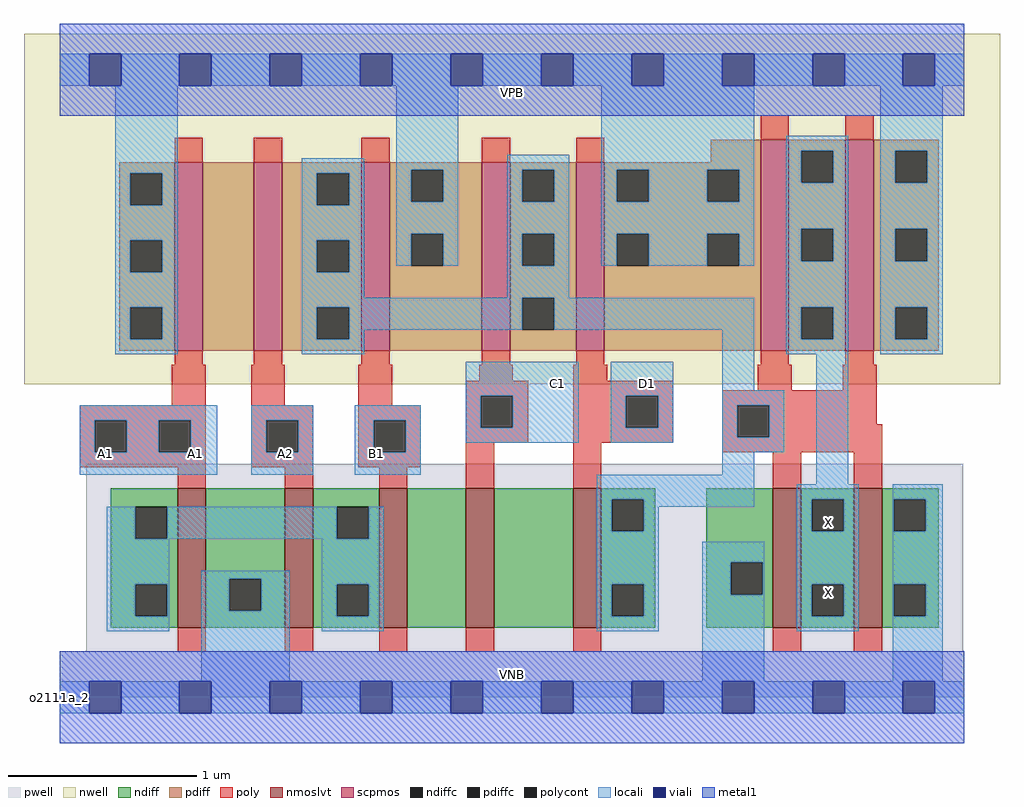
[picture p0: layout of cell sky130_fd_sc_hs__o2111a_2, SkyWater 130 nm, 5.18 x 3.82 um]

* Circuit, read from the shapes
.subckt sky130_fd_sc_hs__o2111a_2 A1 A2 B1 C1 D1 VGND VNB VPB VPWR X
XM1 VGND A1 n1 VNB sky130_fd_pr__nfet_01v8_lvt w=0.74 l=0.15
XM2 n1 A2 VGND VNB sky130_fd_pr__nfet_01v8_lvt w=0.74 l=0.15
XM3 n2 B1 n1 VNB sky130_fd_pr__nfet_01v8_lvt w=0.74 l=0.15
XM4 n3 C1 n2 VNB sky130_fd_pr__nfet_01v8_lvt w=0.74 l=0.15
XM5 n4 D1 n3 VNB sky130_fd_pr__nfet_01v8_lvt w=0.74 l=0.15
XM6 X n4 VGND VNB sky130_fd_pr__nfet_01v8_lvt w=0.74 l=0.15 m=2
XM7 n5 A1 VPWR VPB sky130_fd_pr__pfet_01v8 w=1 l=0.15
XM8 n4 A2 n5 VPB sky130_fd_pr__pfet_01v8 w=1 l=0.15
XM9 VPWR B1 n4 VPB sky130_fd_pr__pfet_01v8 w=1 l=0.15
XM10 n4 C1 VPWR VPB sky130_fd_pr__pfet_01v8 w=1 l=0.15
XM11 VPWR D1 n4 VPB sky130_fd_pr__pfet_01v8 w=1 l=0.15
XM12 X n4 VPWR VPB sky130_fd_pr__pfet_01v8 w=1.12 l=0.15 m=2
.ends

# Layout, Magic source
magic
tech sky130A
magscale 1 2
<< nwell >>
rect -38 332 998 704
<< pwell >>
rect 28 49 959 248
rect 0 0 960 49
<< scpmos >>
rect 122 368 152 568
rect 206 368 236 568
rect 320 368 350 568
rect 448 368 478 568
rect 548 368 578 568
rect 744 368 774 592
rect 834 368 864 592
<< nmoslvt >>
rect 125 74 155 222
rect 239 74 269 222
rect 339 74 369 222
rect 431 74 461 222
rect 545 74 575 222
rect 757 74 787 222
rect 843 74 873 222
<< ndiff >>
rect 54 202 125 222
rect 54 168 80 202
rect 114 168 125 202
rect 54 120 125 168
rect 54 86 80 120
rect 114 86 125 120
rect 54 74 125 86
rect 155 126 239 222
rect 155 92 180 126
rect 214 92 239 126
rect 155 74 239 92
rect 269 202 339 222
rect 269 168 294 202
rect 328 168 339 202
rect 269 120 339 168
rect 269 86 294 120
rect 328 86 339 120
rect 269 74 339 86
rect 369 74 431 222
rect 461 74 545 222
rect 575 210 632 222
rect 575 176 586 210
rect 620 176 632 210
rect 575 120 632 176
rect 575 86 586 120
rect 620 86 632 120
rect 575 74 632 86
rect 686 143 757 222
rect 686 109 712 143
rect 746 109 757 143
rect 686 74 757 109
rect 787 210 843 222
rect 787 176 798 210
rect 832 176 843 210
rect 787 120 843 176
rect 787 86 798 120
rect 832 86 843 120
rect 787 74 843 86
rect 873 210 933 222
rect 873 176 885 210
rect 919 176 933 210
rect 873 120 933 176
rect 873 86 885 120
rect 919 86 933 120
rect 873 74 933 86
<< pdiff >>
rect 691 568 744 592
rect 63 556 122 568
rect 63 522 75 556
rect 109 522 122 556
rect 63 485 122 522
rect 63 451 75 485
rect 109 451 122 485
rect 63 414 122 451
rect 63 380 75 414
rect 109 380 122 414
rect 63 368 122 380
rect 152 368 206 568
rect 236 556 320 568
rect 236 522 273 556
rect 307 522 320 556
rect 236 485 320 522
rect 236 451 273 485
rect 307 451 320 485
rect 236 414 320 451
rect 236 380 273 414
rect 307 380 320 414
rect 236 368 320 380
rect 350 560 448 568
rect 350 526 373 560
rect 407 526 448 560
rect 350 492 448 526
rect 350 458 373 492
rect 407 458 448 492
rect 350 368 448 458
rect 478 560 548 568
rect 478 526 491 560
rect 525 526 548 560
rect 478 492 548 526
rect 478 458 491 492
rect 525 458 548 492
rect 478 424 548 458
rect 478 390 491 424
rect 525 390 548 424
rect 478 368 548 390
rect 578 560 744 568
rect 578 526 591 560
rect 625 526 687 560
rect 721 526 744 560
rect 578 492 744 526
rect 578 458 591 492
rect 625 458 687 492
rect 721 458 744 492
rect 578 368 744 458
rect 774 580 834 592
rect 774 546 787 580
rect 821 546 834 580
rect 774 497 834 546
rect 774 463 787 497
rect 821 463 834 497
rect 774 414 834 463
rect 774 380 787 414
rect 821 380 834 414
rect 774 368 834 380
rect 864 580 933 592
rect 864 546 887 580
rect 921 546 933 580
rect 864 497 933 546
rect 864 463 887 497
rect 921 463 933 497
rect 864 414 933 463
rect 864 380 887 414
rect 921 380 933 414
rect 864 368 933 380
<< ndiffc >>
rect 80 168 114 202
rect 80 86 114 120
rect 180 92 214 126
rect 294 168 328 202
rect 294 86 328 120
rect 586 176 620 210
rect 586 86 620 120
rect 712 109 746 143
rect 798 176 832 210
rect 798 86 832 120
rect 885 176 919 210
rect 885 86 919 120
<< pdiffc >>
rect 75 522 109 556
rect 75 451 109 485
rect 75 380 109 414
rect 273 522 307 556
rect 273 451 307 485
rect 273 380 307 414
rect 373 526 407 560
rect 373 458 407 492
rect 491 526 525 560
rect 491 458 525 492
rect 491 390 525 424
rect 591 526 625 560
rect 687 526 721 560
rect 591 458 625 492
rect 687 458 721 492
rect 787 546 821 580
rect 787 463 821 497
rect 787 380 821 414
rect 887 546 921 580
rect 887 463 921 497
rect 887 380 921 414
<< poly >>
rect 122 568 152 594
rect 206 568 236 594
rect 320 568 350 594
rect 448 568 478 594
rect 548 568 578 594
rect 744 592 774 618
rect 834 592 864 618
rect 122 353 152 368
rect 206 353 236 368
rect 320 353 350 368
rect 448 353 478 368
rect 548 353 578 368
rect 744 353 774 368
rect 834 353 864 368
rect 119 310 155 353
rect 21 294 155 310
rect 21 260 37 294
rect 71 260 105 294
rect 139 260 155 294
rect 21 244 155 260
rect 203 310 239 353
rect 317 310 353 353
rect 445 336 481 353
rect 545 336 581 353
rect 431 320 497 336
rect 203 294 269 310
rect 203 260 219 294
rect 253 260 269 294
rect 203 244 269 260
rect 317 294 383 310
rect 317 260 333 294
rect 367 260 383 294
rect 317 244 383 260
rect 431 286 447 320
rect 481 286 497 320
rect 431 270 497 286
rect 545 320 651 336
rect 741 326 777 353
rect 831 326 867 353
rect 545 286 601 320
rect 635 286 651 320
rect 545 270 651 286
rect 703 310 867 326
rect 703 276 719 310
rect 753 290 867 310
rect 753 276 873 290
rect 125 222 155 244
rect 239 222 269 244
rect 339 222 369 244
rect 431 222 461 270
rect 545 222 575 270
rect 703 260 873 276
rect 757 222 787 260
rect 843 222 873 260
rect 125 48 155 74
rect 239 48 269 74
rect 339 48 369 74
rect 431 48 461 74
rect 545 48 575 74
rect 757 48 787 74
rect 843 48 873 74
<< polycont >>
rect 37 260 71 294
rect 105 260 139 294
rect 219 260 253 294
rect 333 260 367 294
rect 447 286 481 320
rect 601 286 635 320
rect 719 276 753 310
<< locali >>
rect 0 649 31 683
rect 65 649 127 683
rect 161 649 223 683
rect 257 649 319 683
rect 353 649 415 683
rect 449 649 511 683
rect 545 649 607 683
rect 641 649 703 683
rect 737 649 799 683
rect 833 649 895 683
rect 929 649 960 683
rect 59 556 125 649
rect 59 522 75 556
rect 109 522 125 556
rect 59 485 125 522
rect 59 451 75 485
rect 109 451 125 485
rect 59 414 125 451
rect 59 380 75 414
rect 109 380 125 414
rect 59 364 125 380
rect 257 556 323 572
rect 257 522 273 556
rect 307 522 323 556
rect 257 485 323 522
rect 257 451 273 485
rect 307 451 323 485
rect 357 560 423 649
rect 357 526 373 560
rect 407 526 423 560
rect 357 492 423 526
rect 357 458 373 492
rect 407 458 423 492
rect 475 560 541 576
rect 475 526 491 560
rect 525 526 541 560
rect 475 492 541 526
rect 475 458 491 492
rect 525 458 541 492
rect 575 560 737 649
rect 575 526 591 560
rect 625 526 687 560
rect 721 526 737 560
rect 575 492 737 526
rect 575 458 591 492
rect 625 458 687 492
rect 721 458 737 492
rect 771 580 837 596
rect 771 546 787 580
rect 821 546 837 580
rect 771 497 837 546
rect 771 463 787 497
rect 821 463 837 497
rect 257 424 323 451
rect 475 424 541 458
rect 257 414 491 424
rect 257 380 273 414
rect 307 390 491 414
rect 525 390 737 424
rect 307 380 323 390
rect 257 364 323 380
rect 431 320 551 356
rect 21 294 167 310
rect 21 260 37 294
rect 71 260 105 294
rect 139 260 167 294
rect 21 236 167 260
rect 203 294 269 310
rect 203 260 219 294
rect 253 260 269 294
rect 203 236 269 260
rect 313 294 383 310
rect 313 260 333 294
rect 367 260 383 294
rect 431 286 447 320
rect 481 286 551 320
rect 431 270 551 286
rect 585 320 651 356
rect 585 286 601 320
rect 635 286 651 320
rect 585 270 651 286
rect 703 326 737 390
rect 771 414 837 463
rect 771 380 787 414
rect 821 380 837 414
rect 771 364 837 380
rect 871 580 937 649
rect 871 546 887 580
rect 921 546 937 580
rect 871 497 937 546
rect 871 463 887 497
rect 921 463 937 497
rect 871 414 937 463
rect 871 380 887 414
rect 921 380 937 414
rect 871 364 937 380
rect 703 310 769 326
rect 703 276 719 310
rect 753 276 769 310
rect 313 236 383 260
rect 703 260 769 276
rect 703 236 737 260
rect 570 210 737 236
rect 803 226 837 364
rect 50 168 80 202
rect 114 168 294 202
rect 328 168 344 202
rect 50 120 116 168
rect 50 86 80 120
rect 114 86 116 120
rect 50 70 116 86
rect 150 126 244 134
rect 150 92 180 126
rect 214 92 244 126
rect 150 17 244 92
rect 278 120 344 168
rect 278 86 294 120
rect 328 86 344 120
rect 278 70 344 86
rect 570 176 586 210
rect 620 202 737 210
rect 782 210 848 226
rect 620 176 636 202
rect 570 120 636 176
rect 782 176 798 210
rect 832 176 848 210
rect 570 86 586 120
rect 620 86 636 120
rect 570 70 636 86
rect 682 143 748 165
rect 682 109 712 143
rect 746 109 748 143
rect 682 17 748 109
rect 782 120 848 176
rect 782 86 798 120
rect 832 86 848 120
rect 782 70 848 86
rect 884 210 937 226
rect 884 176 885 210
rect 919 176 937 210
rect 884 120 937 176
rect 884 86 885 120
rect 919 86 937 120
rect 884 17 937 86
rect 0 -17 31 17
rect 65 -17 127 17
rect 161 -17 223 17
rect 257 -17 319 17
rect 353 -17 415 17
rect 449 -17 511 17
rect 545 -17 607 17
rect 641 -17 703 17
rect 737 -17 799 17
rect 833 -17 895 17
rect 929 -17 960 17
<< viali >>
rect 31 649 65 683
rect 127 649 161 683
rect 223 649 257 683
rect 319 649 353 683
rect 415 649 449 683
rect 511 649 545 683
rect 607 649 641 683
rect 703 649 737 683
rect 799 649 833 683
rect 895 649 929 683
rect 31 -17 65 17
rect 127 -17 161 17
rect 223 -17 257 17
rect 319 -17 353 17
rect 415 -17 449 17
rect 511 -17 545 17
rect 607 -17 641 17
rect 703 -17 737 17
rect 799 -17 833 17
rect 895 -17 929 17
<< metal1 >>
rect 0 683 960 715
rect 0 649 31 683
rect 65 649 127 683
rect 161 649 223 683
rect 257 649 319 683
rect 353 649 415 683
rect 449 649 511 683
rect 545 649 607 683
rect 641 649 703 683
rect 737 649 799 683
rect 833 649 895 683
rect 929 649 960 683
rect 0 617 960 649
rect 0 17 960 49
rect 0 -17 31 17
rect 65 -17 127 17
rect 161 -17 223 17
rect 257 -17 319 17
rect 353 -17 415 17
rect 449 -17 511 17
rect 545 -17 607 17
rect 641 -17 703 17
rect 737 -17 799 17
rect 833 -17 895 17
rect 929 -17 960 17
rect 0 -49 960 -17
<< labels >>
rlabel comment s 0 0 0 0 4 o2111a_2
flabel pwell s 0 0 960 49 0 FreeSans 200 0 0 0 VNB
port 7 nsew ground bidirectional
flabel nwell s 0 617 960 666 0 FreeSans 200 0 0 0 VPB
port 8 nsew power bidirectional
flabel metal1 s 0 617 960 666 0 FreeSans 340 0 0 0 VPWR
port 9 nsew power bidirectional
flabel metal1 s 0 0 960 49 0 FreeSans 340 0 0 0 VGND
port 6 nsew ground bidirectional
flabel locali s 31 242 65 276 0 FreeSans 340 0 0 0 A1
port 1 nsew signal input
flabel locali s 127 242 161 276 0 FreeSans 340 0 0 0 A1
port 1 nsew signal input
flabel locali s 223 242 257 276 0 FreeSans 340 0 0 0 A2
port 2 nsew signal input
flabel locali s 319 242 353 276 0 FreeSans 340 0 0 0 B1
port 3 nsew signal input
flabel locali s 511 316 545 350 0 FreeSans 340 0 0 0 C1
port 4 nsew signal input
flabel locali s 607 316 641 350 0 FreeSans 340 0 0 0 D1
port 5 nsew signal input
flabel locali s 799 94 833 128 0 FreeSans 340 0 0 0 X
port 10 nsew signal output
flabel locali s 799 168 833 202 0 FreeSans 340 0 0 0 X
port 10 nsew signal output
<< properties >>
string LEFsite unit
string LEFclass CORE
string FIXED_BBOX 0 0 960 666
string GDS_FILE $PDKPATH/libs.ref/sky130_fd_sc_hs/gds/sky130_fd_sc_hs.gds
string LEFsymmetry X Y
string GDS_END 2370312
string GDS_START 2362010
<< end >>
